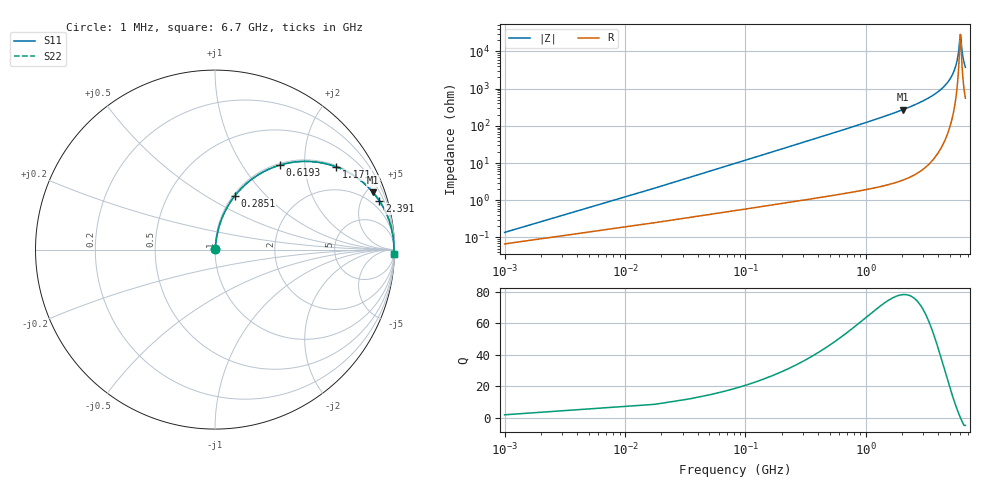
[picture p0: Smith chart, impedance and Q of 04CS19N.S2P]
! Coilcraft 0402CS-19N Chip Inductor
! 29 May 2002
# MHZ S MA R 50
!Freq  MagS11  AngS11  MagS21  AngS21  MagS12  AngS12  MagS22  AngS22
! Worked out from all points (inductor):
!   402 points, 1 MHz to 6.7 GHz, reference 50 ohm
!   read as one part in series: L = 19 nH near 34.42 MHz
!   highest Q = 78.2 at 2.04 GHz (marker M1), where L = 21.4 nH
!   self-resonance near 6.083 GHz
!   S11 on the Smith chart (normalised r, x): 1 MHz: 1.00, +0.00; 285.1 MHz: 1.02, +0.68; 619.3 MHz: 1.03, +1.49; 1.171 GHz: 1.04, +2.90; 2.391 GHz: 1.09, +6.75; 6.7 GHz: 12, -74
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1  0.001369 60.6  0.9993 -0.1  0.9993 -0.1  0.001369 60.6
51.13  0.06082 82.6  0.994 -3.5  0.994 -3.5  0.06082 82.6
67.84  0.08049 82.0  0.992 -4.6  0.992 -4.6  0.08049 82.0
101.26  0.1195 80.4  0.9871 -6.9  0.9871 -6.9  0.1195 80.4
151.39  0.1769 77.6  0.9773 -10.2  0.9773 -10.2  0.1769 77.6
285.07  0.3201 69.7  0.9382 -18.7  0.9382 -18.7  0.3201 69.7
619.27  0.593 52.5  0.7937 -36.4  0.7937 -36.4  0.593 52.5
1120.57  0.805 35.5  0.5813 -53.6  0.5813 -53.6  0.805 35.5
1170.7  0.8179 34.3  0.5635 -54.9  0.5635 -54.9  0.8179 34.3
2039.62  0.9357 19.9  0.3411 -69.3  0.3411 -69.3  0.9357 19.9
2240.14  0.948 17.8  0.3064 -71.4  0.3064 -71.4  0.948 17.8
2390.53  0.9554 16.4  0.2831 -72.8  0.2831 -72.8  0.9554 16.4
3359.71  0.9826 9.8  0.1703 -79.2  0.1703 -79.2  0.9826 9.8
4479.28  0.9936 4.9  0.0852 -83.3  0.0852 -83.3  0.9936 4.9
5147.68  0.996 2.6  0.04622 -83.7  0.04622 -83.7  0.996 2.6
5598.85  0.9965 1.3  0.02314 -80.8  0.02314 -80.8  0.9965 1.3
5832.79  0.9966 0.7  0.01214 -73.4  0.01214 -73.4  0.9966 0.7
6083.44  0.9965 0.0  0.003485 -2.2  0.003485 -2.2  0.9965 0.0
6133.57  0.9965 -0.1  0.004102 30.9  0.004102 30.9  0.9965 -0.1
6250.54  0.9964 -0.4  0.008131 63.3  0.008131 63.3  0.9964 -0.4
6367.51  0.9962 -0.7  0.01291 72.7  0.01291 72.7  0.9962 -0.7
6700  0.9957 -1.5  0.02664 80.0  0.02664 80.0  0.9957 -1.5
